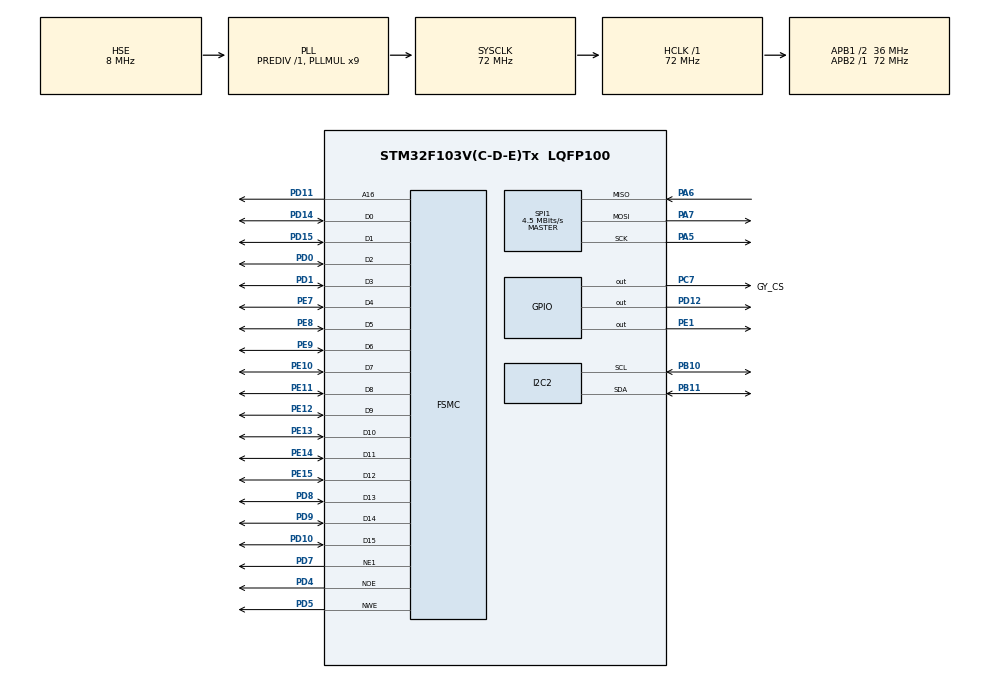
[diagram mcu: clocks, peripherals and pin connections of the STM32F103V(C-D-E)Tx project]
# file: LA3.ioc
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Mcu.Family=STM32F1
Mcu.Name=STM32F103V(C-D-E)Tx
Mcu.Package=LQFP100
NVIC.PriorityGroup=NVIC_PRIORITYGROUP_4
NVIC.TIM2_IRQn=true\:0\:0\:false\:false\:true\:true\:true\:true
OSC_IN.Mode=HSE-External-Oscillator
OSC_IN.Signal=RCC_OSC_IN
OSC_OUT.Mode=HSE-External-Oscillator
OSC_OUT.Signal=RCC_OSC_OUT
PA13.Mode=Serial_Wire
PA13.Signal=SYS_JTMS-SWDIO
PA14.Mode=Serial_Wire
PA14.Signal=SYS_JTCK-SWCLK
PA5.Mode=Full_Duplex_Master
PA5.Signal=SPI1_SCK
PA6.Mode=Full_Duplex_Master
PA6.Signal=SPI1_MISO
PA7.Mode=Full_Duplex_Master
PA7.Signal=SPI1_MOSI
PB10.Mode=I2C
PB10.Signal=I2C2_SCL
PB11.Mode=I2C
PB11.Signal=I2C2_SDA
PC14-OSC32_IN.Mode=LSE-External-Oscillator
PC14-OSC32_IN.Signal=RCC_OSC32_IN
PC15-OSC32_OUT.Mode=LSE-External-Oscillator
PC15-OSC32_OUT.Signal=RCC_OSC32_OUT
PC7.GPIO_Label=GY_CS
PC7.GPIO_Speed=GPIO_SPEED_FREQ_HIGH
PC7.PinState=GPIO_PIN_RESET
PC7.Signal=GPIO_Output
PD0.Mode=16b-d1
PD0.Signal=FSMC_D2
PD1.Mode=16b-d1
PD1.Signal=FSMC_D3
PD10.Mode=16b-d1
PD10.Signal=FSMC_D15
PD11.Mode=A16_1
PD11.Signal=FSMC_A16
PD12.GPIO_Speed=GPIO_SPEED_FREQ_HIGH
PD12.Signal=GPIO_Output
PD14.Mode=16b-d1
PD14.Signal=FSMC_D0
PD15.Mode=16b-d1
PD15.Signal=FSMC_D1
PD4.Mode=Lcd1
PD4.Signal=FSMC_NOE
PD5.Mode=Lcd1
PD5.Signal=FSMC_NWE
PD7.Mode=NorPsramChipSelect1_1
PD7.Signal=FSMC_NE1
PD8.Mode=16b-d1
PD8.Signal=FSMC_D13
PD9.Mode=16b-d1
PD9.Signal=FSMC_D14
PE1.GPIO_Speed=GPIO_SPEED_FREQ_HIGH
PE1.Signal=GPIO_Output
PE10.Mode=16b-d1
PE10.Signal=FSMC_D7
PE11.Mode=16b-d1
PE11.Signal=FSMC_D8
PE12.Mode=16b-d1
PE12.Signal=FSMC_D9
PE13.Mode=16b-d1
PE13.Signal=FSMC_D10
PE14.Mode=16b-d1
PE14.Signal=FSMC_D11
PE15.Mode=16b-d1
PE15.Signal=FSMC_D12
PE7.Mode=16b-d1
PE7.Signal=FSMC_D4
PE8.Mode=16b-d1
PE8.Signal=FSMC_D5
PE9.Mode=16b-d1
PE9.Signal=FSMC_D6
ProjectManager.HeapSize=0x200
ProjectManager.StackSize=0x400
ProjectManager.TargetToolchain=STM32CubeIDE
RCC.ADCPresc=RCC_ADCPCLK2_DIV6
RCC.AHBFreq_Value=72000000
RCC.APB1CLKDivider=RCC_HCLK_DIV2
RCC.APB1Freq_Value=36000000
RCC.APB1TimFreq_Value=72000000
RCC.APB2Freq_Value=72000000
RCC.APB2TimFreq_Value=72000000
RCC.HCLKFreq_Value=72000000
RCC.PLLMUL=RCC_PLL_MUL9
RCC.PLLSourceVirtual=RCC_PLLSOURCE_HSE
RCC.SYSCLKFreq_VALUE=72000000
RCC.SYSCLKSource=RCC_SYSCLKSOURCE_PLLCLK
RCC.USBFreq_Value=72000000
SPI1.BaudRatePrescaler=SPI_BAUDRATEPRESCALER_16
SPI1.CalculateBaudRate=4.5 MBits/s
SPI1.DataSize=SPI_DATASIZE_8BIT
SPI1.Direction=SPI_DIRECTION_2LINES
SPI1.Mode=SPI_MODE_MASTER
SPI1.VirtualType=VM_MASTER
TIM2.Period=1
TIM2.Prescaler=7199
VP_TIM2_VS_ClockSourceINT.Mode=Internal
board=custom

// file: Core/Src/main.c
/* USER CODE BEGIN Header */
/**
  ******************************************************************************
  * @file           : main.c
  * @brief          : Main program body
  ******************************************************************************
  * @attention
  *
  * Copyright (c) 2022 STMicroelectronics.
  * All rights reserved.
  *
  * This software is licensed under terms that can be found in the LICENSE file
  * in the root directory of this software component.
  * If no LICENSE file comes with this software, it is provided AS-IS.
  *
  ******************************************************************************
  */
/* USER CODE END Header */
#include "main.h"
#include "i2c.h"
#include "spi.h"
#include "tim.h"
#include "gpio.h"
#include "fsmc.h"

/* USER CODE BEGIN Includes */
#include "lcd.h"
#include "MPU9250.h"
#include "stdio.h"

/* USER CODE END Includes */

void SystemClock_Config(void);
/* USER CODE BEGIN PFP */
void mpu9250_read_reg(uint8_t reg, uint8_t *data, uint8_t len);
/* USER CODE END PFP */

/* USER CODE BEGIN 0 */
volatile uint8_t timer_flag = 0;
int runned = 0;
uint8_t xMSB;
uint8_t xLSB;
uint8_t yMSB;
uint8_t yLSB;
uint8_t HMC5883L_Addr = 0x1E;
uint8_t CRA = 0x70;
uint8_t CRB = 0xA0;
uint8_t CR_C = 0x00;
uint8_t request = 0x00;
uint8_t qua = 0;
int xycoor = 0;
int lefting = 0;
int righting = 0;

int hit = 0;
int record = 1;
int hitcount = 0;

char buff[31];
char buff1[31];
char buff2[31];

float acc[3];
float gyro[3];
float mag[3];
char counter[9];
char _hitcount[9];
//char str[100];
int16_t AccData[3], GyroData[3], MagData[3], Gyro_offset[3];

/* USER CODE END 0 */

int main(void)
{

  /* MCU Configuration--------------------------------------------------------*/

  /* Reset of all peripherals, Initializes the Flash interface and the Systick. */
  HAL_Init();

  /* Configure the system clock */
  SystemClock_Config();

  /* Initialize all configured peripherals */
  MX_GPIO_Init();
  MX_I2C2_Init();
  MX_FSMC_Init();
  MX_TIM2_Init();
  MX_SPI1_Init();
  /* USER CODE BEGIN 2 */
  LCD_INIT();
  MPU9250_Init();
  MPU9250_SetAccelRange(ACCEL_RANGE_8G);
  MPU9250_SetGyroRange(GYRO_RANGE_1000DPS);
  imu_calibrateGyro_noclass(Gyro_offset);
//  HAL_I2C_Mem_Write(&hi2c2,HMC5883L_Addr<<1,0x00,1,&CRA,1,100);
//  HAL_I2C_Mem_Write(&hi2c2,HMC5883L_Addr<<1,0x01,1,&CRB,1,100);
//  int16_t accel_data;
//  uint8_t imu_data[14];

//  uint16_t _Combine(uint8_t b1, uint8_t b2) {
//	  uint16_t combined = b1 << 8 | b2;
//	  return combined;
//  }

  /* USER CODE END 2 */

  /* Infinite loop */
  while (1)
  {

    /* USER CODE BEGIN 3 */
	  if (!runned) {
//		  LCD_DrawString(20,20,"Chan Lik Yeung");
//		  LCD_DrawDot(120,160, 0xF800);
//		  LCD_DrawEllipse(120, 160, 25, 75, BLACK) ;
		  LCD_Clear(0,0, 239,319, WHITE);
//		  LCD_DrawString(120,20, "YValue");
//		  LCD_DrawString(180,20, "XValue");
//		  LCD_DrawString(20,40, "Value : ");
//		  LCD_DrawString(20,60, "Angle : ");

		  runned = 1;
	  }

	  MPU9250_GetData(AccData, MagData, GyroData);
	  imu_normalizeGyro(GyroData,Gyro_offset);

//	  printf("%08d;%08d;%08d;%08d;%08d;%08d;%08d;%08d;%08d\n",
//	    (int16_t)AccData[0], (int16_t)AccData[1], (int16_t)AccData[2],
//	    (int16_t)GyroData[0], (int16_t)GyroData[1], (int16_t)GyroData[2],
//	    (int16_t)MagData[0], (int16_t)MagData[1], (int16_t)MagData[2]);

	  for (int i=0;i<3;i++) {
		  acc[i] = AccData[i]/2048.0;
		  gyro[i] = imu_normalizeGyro(GyroData[i], Gyro_offset[i]) ;
		  mag[i] = MagData[i];

	  }

//	  if (acc[0]>3 && (acc[0] != 8 && acc[0] != 9 && acc[0] != 10 )) {
	  if (acc[0] > 2.3 && (acc[2] == 8 ||acc[2] == 9 ||acc[2] == 10)) {
		  lefting = 1;
		  righting = 0;
		  HAL_Delay(20);
	  } else if ( acc[0] < -2.3 && (acc[2] == 8 || acc[2] == 9 ||acc[2] == 10)) {
		  righting = 1;
		  lefting = 0;
		  HAL_Delay(20);

	  } else {
	  		  lefting=0;
	  		  righting=0;
	  }

	  if (acc[2]< -8 && record == 1) {
		  hit = 1; record = 0;
		  HAL_Delay(10);
	  } else {
		  hit = 0;
	  }

	  if (lefting != 0) {xycoor -= lefting; LCD_DrawString(0, 100, "lefting");}
	  if (righting != 0) {xycoor+= righting;LCD_DrawString(0, 100, "righting");}
	  if (hit == 1 && record == 0) {hitcount++; record = 1; }

	  sprintf(buff, "acc : %6.2f,%6.2f,%6.2f", acc[0], acc[1], acc[2]);
	  LCD_DrawString(0, 40, buff);
	  sprintf(buff, "gyro: %6.0f,%6.0f,%6.0f", gyro[0], gyro[1], gyro[2]);
	  LCD_DrawString(0, 60, buff);
	  sprintf(buff, "off: %6d,%6d,%6d", Gyro_offset[0], Gyro_offset[1], Gyro_offset[2]);
	  LCD_DrawString(0, 80, buff);
	  sprintf(buff, "mag : %6.0f,%6.0f,%6.0f", mag[0], mag[1], mag[2]);
	  LCD_DrawString(0, 100, buff);
//	  sprintf(gyro, "gyro: %4d,%4d,%4d", (int16_t)GyroData[0], (int16_t)GyroData[1], (int16_t)GyroData[2]);
//	  sprintf(counter, "xycoor: %8d", (int16_t)xycoor);
//	  LCD_DrawString(0,60, counter);
	  sprintf(_hitcount, "hitcount: %8d", (int16_t)hitcount);
	  LCD_DrawString(0,180, _hitcount);
//	  sprintf(acc1, "%8d", (int16_t)accg1);
//	  sprintf(acc2, "%8d", (int16_t)accg2);
//	  sprintf(acc3, "%8d", (int16_t)accg3);
//	  sprintf(gyro1, "%8d", (int16_t)GyroData[0]);
//	  sprintf(gyro2, "%8d", (int16_t)GyroData[1]);
//	  sprintf(gyro3, "%8d", (int16_t)GyroData[2]);
//	  sprintf(MagData1, "%8d", (int16_t)MagData[0]);
//	  sprintf(MagData2, "%8d", (int16_t)MagData[1]);
//	  sprintf(MagData3, "%8d", (int16_t)MagData[2]);
//	  sprintf(str,"%08d;%08d;%08d;%08d;%08d;%08d;%08d;%08d;%08d",
//			    (int16_t)AccData[0], (int16_t)AccData[1], (int16_t)AccData[2],
//			    (int16_t)GyroData[0], (int16_t)GyroData[1], (int16_t)GyroData[2],
//			    (int16_t)MagData[0], (int16_t)MagData[1], (int16_t)MagData[2]);
//	  sprintf(buff, "acc : %6.2f,%6.2f,%6.2f", AccData[0], AccData[1], AccData[2]);
//	  LCD_DrawString(0, 40, buff);

//	  LCD_DrawString(120,40, acc1);
//	  LCD_DrawString(120,60, acc2);
//	  LCD_DrawString(120,80, acc3);
//	  LCD_DrawString(120,100, gyro1);
//	  LCD_DrawString(120,120, gyro2);
//	  LCD_DrawString(120,140, gyro3);
//	  LCD_DrawString(120,160, MagData1);
//	  LCD_DrawString(120,180, MagData2);
//	  LCD_DrawString(120,200, MagData3);

//	  if (!HAL_GPIO_ReadPin(GPIOC, GPIO_PIN_13) == GPIO_PIN_RESET) {
//
//		  HAL_ADC_Start(&hadc1);
//		  HAL_ADC_PollForConversion(&hadc1, 1000);
//		  char str[10];
//		  uint32_t s_value = HAL_ADC_GetValue(&hadc1);
//		  sprintf(str,"%04lu   %04x" ,s_value, s_value);
//		  LCD_DrawString(120,40, str);
//
//		  }
  }

  /* USER CODE END 3 */
}

void SystemClock_Config(void)
{
  RCC_OscInitTypeDef RCC_OscInitStruct = {0};
  RCC_ClkInitTypeDef RCC_ClkInitStruct = {0};

  /** Initializes the RCC Oscillators according to the specified parameters
  * in the RCC_OscInitTypeDef structure.
  */
  RCC_OscInitStruct.OscillatorType = RCC_OSCILLATORTYPE_HSE;
  RCC_OscInitStruct.HSEState = RCC_HSE_ON;
  RCC_OscInitStruct.HSEPredivValue = RCC_HSE_PREDIV_DIV1;
  RCC_OscInitStruct.HSIState = RCC_HSI_ON;
  RCC_OscInitStruct.PLL.PLLState = RCC_PLL_ON;
  RCC_OscInitStruct.PLL.PLLSource = RCC_PLLSOURCE_HSE;
  RCC_OscInitStruct.PLL.PLLMUL = RCC_PLL_MUL9;
  if (HAL_RCC_OscConfig(&RCC_OscInitStruct) != HAL_OK)
  {
    Error_Handler();
  }

  /** Initializes the CPU, AHB and APB buses clocks
  */
  RCC_ClkInitStruct.ClockType = RCC_CLOCKTYPE_HCLK|RCC_CLOCKTYPE_SYSCLK
                              |RCC_CLOCKTYPE_PCLK1|RCC_CLOCKTYPE_PCLK2;
  RCC_ClkInitStruct.SYSCLKSource = RCC_SYSCLKSOURCE_PLLCLK;
  RCC_ClkInitStruct.AHBCLKDivider = RCC_SYSCLK_DIV1;
  RCC_ClkInitStruct.APB1CLKDivider = RCC_HCLK_DIV2;
  RCC_ClkInitStruct.APB2CLKDivider = RCC_HCLK_DIV1;

  if (HAL_RCC_ClockConfig(&RCC_ClkInitStruct, FLASH_LATENCY_2) != HAL_OK)
  {
    Error_Handler();
  }
}

/* USER CODE BEGIN 4 */

#define numCalPoints_noclass 100
void imu_calibrateGyro_noclass (int16_t Gyro_offset[3]) {
	//Init
	int32_t sum[3] = {0, 0, 0};
	int16_t AccData[3], GyroData[3], MagData[3];

	// Save specified number of points, add them to sum (x,y,z)
	for (uint16_t i = 0; i < numCalPoints_noclass; i++) {
		HAL_Delay(3);
	    MPU9250_GetData(AccData, MagData, GyroData);
	    for (int j = 0; j < 3; j++) sum[j] += GyroData[j];
	}

	// Average the saved data points to find the gyroscope offset
	for (int j = 0; j < 3; j++) Gyro_offset[j] = (float) sum[j] / numCalPoints_noclass;

}

void imu_normalizeGyro (int16_t GyroData, int16_t Gyro_offset) {
		GyroData = (GyroData - Gyro_offset)/ 32.8;
//		if (GyroData[j] <= 0) {
//			GyroData[j] = 0;
//		}

}
//void HAL_TIM_PeriodElapsedCallback(TIM_HandleTypeDef *htim)
//{
//	if (htim == &htim2)
//	{
//		timer_flag = 1;
//	}
//}
//
//void mpu9250_read_reg(uint8_t reg, uint8_t *data, uint8_t len)
//{
//	uint8_t temp_data = 0x80|reg;
//	HAL_GPIO_WritePin(SPI_CS_GPIO_Port, SPI_CS_Pin, GPIO_PIN_RESET);
//	HAL_SPI_Transmit(&hspi2, &temp_data, 1, 100);
//	HAL_SPI_Receive(&hspi2,data, len, 100);
//	HAL_GPIO_WritePin(SPI_CS_GPIO_Port, SPI_CS_Pin, GPIO_PIN_SET);
//}
/* USER CODE END 4 */

void Error_Handler(void)
{
  __disable_irq();
  while (1)
  {
  }
}
